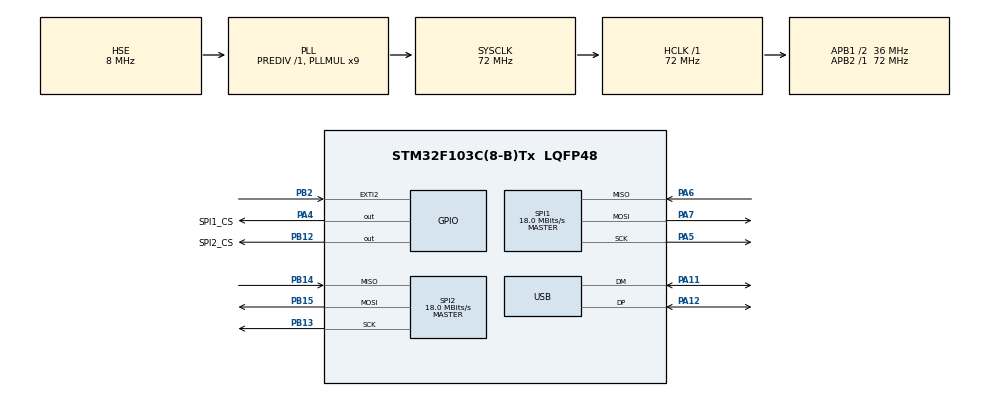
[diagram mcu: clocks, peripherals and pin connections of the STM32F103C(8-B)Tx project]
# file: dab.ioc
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Mcu.Family=STM32F1
Mcu.Name=STM32F103C(8-B)Tx
Mcu.Package=LQFP48
NVIC.EXTI2_IRQn=true\:1\:0\:true\:false\:true\:true
NVIC.PriorityGroup=NVIC_PRIORITYGROUP_4
NVIC.TIM1_UP_IRQn=true\:0\:0\:false\:false\:true\:true
NVIC.USB_LP_CAN1_RX0_IRQn=true\:0\:0\:false\:false\:true\:true
PA11.Mode=Device
PA11.Signal=USB_DM
PA12.Mode=Device
PA12.Signal=USB_DP
PA13.Mode=Serial_Wire
PA13.Signal=SYS_JTMS-SWDIO
PA14.Mode=Serial_Wire
PA14.Signal=SYS_JTCK-SWCLK
PA4.GPIO_Label=SPI1_CS
PA4.GPIO_Speed=GPIO_SPEED_FREQ_HIGH
PA4.PinState=GPIO_PIN_SET
PA4.Signal=GPIO_Output
PA5.Mode=Full_Duplex_Master
PA5.Signal=SPI1_SCK
PA6.Mode=Full_Duplex_Master
PA6.Signal=SPI1_MISO
PA7.Mode=Full_Duplex_Master
PA7.Signal=SPI1_MOSI
PB12.GPIO_Label=SPI2_CS
PB12.GPIO_Speed=GPIO_SPEED_FREQ_HIGH
PB12.PinState=GPIO_PIN_SET
PB12.Signal=GPIO_Output
PB13.Mode=Full_Duplex_Master
PB13.Signal=SPI2_SCK
PB14.Mode=Full_Duplex_Master
PB14.Signal=SPI2_MISO
PB15.Mode=Full_Duplex_Master
PB15.Signal=SPI2_MOSI
PB2.GPIO_PuPd=GPIO_PULLDOWN
PB2.Signal=GPXTI2
PD0-OSC_IN.Mode=HSE-External-Oscillator
PD0-OSC_IN.Signal=RCC_OSC_IN
PD1-OSC_OUT.Mode=HSE-External-Oscillator
PD1-OSC_OUT.Signal=RCC_OSC_OUT
ProjectManager.HeapSize=0x200
ProjectManager.StackSize=0x400
ProjectManager.TargetToolchain=SW4STM32
RCC.AHBFreq_Value=72000000
RCC.APB1CLKDivider=RCC_HCLK_DIV2
RCC.APB1Freq_Value=36000000
RCC.APB1TimFreq_Value=72000000
RCC.APB2Freq_Value=72000000
RCC.APB2TimFreq_Value=72000000
RCC.HCLKFreq_Value=72000000
RCC.PLLMUL=RCC_PLL_MUL9
RCC.SYSCLKFreq_VALUE=72000000
RCC.SYSCLKSource=RCC_SYSCLKSOURCE_PLLCLK
RCC.USBFreq_Value=48000000
RCC.USBPrescaler=RCC_USBCLKSOURCE_PLL_DIV1_5
SPI1.BaudRatePrescaler=SPI_BAUDRATEPRESCALER_4
SPI1.CLKPolarity=SPI_POLARITY_HIGH
SPI1.CalculateBaudRate=18.0 MBits/s
SPI1.DataSize=SPI_DATASIZE_16BIT
SPI1.Direction=SPI_DIRECTION_2LINES
SPI1.Mode=SPI_MODE_MASTER
SPI1.VirtualType=VM_MASTER
SPI2.CLKPolarity=SPI_POLARITY_HIGH
SPI2.CalculateBaudRate=18.0 MBits/s
SPI2.DataSize=SPI_DATASIZE_16BIT
SPI2.Direction=SPI_DIRECTION_2LINES
SPI2.Mode=SPI_MODE_MASTER
SPI2.VirtualType=VM_MASTER
TIM1.Period=9999
TIM1.Prescaler=7199
USB_DEVICE.CLASS_NAME_FS=CDC
USB_DEVICE.USBD_HandleTypeDef=hUsbDeviceFS
USB_DEVICE.USBD_SELF_POWERED=0
USB_DEVICE.VirtualMode=Cdc
USB_DEVICE.VirtualModeFS=Cdc_FS
VP_TIM1_VS_ClockSourceINT.Mode=Internal
VP_USB_DEVICE_VS_USB_DEVICE_CDC_FS.Mode=CDC_FS
board=dab

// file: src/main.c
/**
  ******************************************************************************
  * File Name          : main.c
  * Description        : Main program body
  ******************************************************************************
  * This notice applies to any and all portions of this file
  * that are not between comment pairs USER CODE BEGIN and
  * USER CODE END. Other portions of this file, whether
  * inserted by the user or by software development tools
  * are owned by their respective copyright owners.
  *
  * Copyright (c) 2018 STMicroelectronics International N.V.
  * All rights reserved.
  *
  * Redistribution and use in source and binary forms, with or without
  * modification, are permitted, provided that the following conditions are met:
  *
  * 1. Redistribution of source code must retain the above copyright notice,
  *    this list of conditions and the following disclaimer.
  * 2. Redistributions in binary form must reproduce the above copyright notice,
  *    this list of conditions and the following disclaimer in the documentation
  *    and/or other materials provided with the distribution.
  * 3. Neither the name of STMicroelectronics nor the names of other
  *    contributors to this software may be used to endorse or promote products
  *    derived from this software without specific written permission.
  * 4. This software, including modifications and/or derivative works of this
  *    software, must execute solely and exclusively on microcontroller or
  *    microprocessor devices manufactured by or for STMicroelectronics.
  * 5. Redistribution and use of this software other than as permitted under
  *    this license is void and will automatically terminate your rights under
  *    this license.
  *
  * THIS SOFTWARE IS PROVIDED BY STMICROELECTRONICS AND CONTRIBUTORS "AS IS"
  * AND ANY EXPRESS, IMPLIED OR STATUTORY WARRANTIES, INCLUDING, BUT NOT
  * LIMITED TO, THE IMPLIED WARRANTIES OF MERCHANTABILITY, FITNESS FOR A
  * PARTICULAR PURPOSE AND NON-INFRINGEMENT OF THIRD PARTY INTELLECTUAL PROPERTY
  * RIGHTS ARE DISCLAIMED TO THE FULLEST EXTENT PERMITTED BY LAW. IN NO EVENT
  * SHALL STMICROELECTRONICS OR CONTRIBUTORS BE LIABLE FOR ANY DIRECT, INDIRECT,
  * INCIDENTAL, SPECIAL, EXEMPLARY, OR CONSEQUENTIAL DAMAGES (INCLUDING, BUT NOT
  * LIMITED TO, PROCUREMENT OF SUBSTITUTE GOODS OR SERVICES; LOSS OF USE, DATA,
  * OR PROFITS; OR BUSINESS INTERRUPTION) HOWEVER CAUSED AND ON ANY THEORY OF
  * LIABILITY, WHETHER IN CONTRACT, STRICT LIABILITY, OR TORT (INCLUDING
  * NEGLIGENCE OR OTHERWISE) ARISING IN ANY WAY OUT OF THE USE OF THIS SOFTWARE,
  * EVEN IF ADVISED OF THE POSSIBILITY OF SUCH DAMAGE.
  *
  ******************************************************************************
  */

#include "main.h"
#include "stm32f1xx_hal.h"
#include "spi.h"
#include "tim.h"
#include "usb_device.h"
#include "gpio.h"

/* USER CODE BEGIN Includes */
#include "stm32f1xx_it.h"
#include "usbd_cdc_if.h"
#include "ad7495.h"

extern volatile uint16_t n;
extern volatile uint8_t t;
extern volatile uint16_t k;

/* USER CODE END Includes */

/* USER CODE BEGIN PV */
/* Private variables ---------------------------------------------------------*/
/* USER CODE END PV */

void SystemClock_Config(void);

/* USER CODE BEGIN PFP */
/* Private function prototypes -----------------------------------------------*/

/* USER CODE END PFP */

int main(void)
{

  /* MCU Configuration----------------------------------------------------------*/

  /* Reset of all peripherals, Initializes the Flash interface and the Systick. */
  HAL_Init();

  /* Configure the system clock */
  SystemClock_Config();

  /* Initialize all configured peripherals */
  MX_GPIO_Init();
  MX_USB_DEVICE_Init();
  MX_SPI1_Init();
  MX_SPI2_Init();
  MX_TIM1_Init();

  /* USER CODE BEGIN 2 */
  Adc_Probe();
  /* USER CODE END 2 */

  /* Infinite loop */
  /* USER CODE BEGIN WHILE */
  while (1)
  {
	  while(t == 1) {
		  k = 0;
		  HAL_Delay(200);
		  __HAL_GPIO_EXTI_CLEAR_IT(GPIO_PIN_2);
		  __HAL_TIM_CLEAR_IT(&htim1, TIM_IT_UPDATE);
		  __HAL_TIM_SET_COUNTER(&htim1, 0);
		  HAL_TIM_Base_Start_IT(&htim1);
		  NVIC_EnableIRQ(EXTI2_IRQn);
		  while(k < n);
		  HAL_TIM_Base_Stop_IT(&htim1);
		  t = 0;
	  }
  /* USER CODE END WHILE */

  }

}

/** System Clock Configuration
*/
void SystemClock_Config(void)
{

  RCC_OscInitTypeDef RCC_OscInitStruct;
  RCC_ClkInitTypeDef RCC_ClkInitStruct;
  RCC_PeriphCLKInitTypeDef PeriphClkInit;

    /**Initializes the CPU, AHB and APB busses clocks
    */
  RCC_OscInitStruct.OscillatorType = RCC_OSCILLATORTYPE_HSE;
  RCC_OscInitStruct.HSEState = RCC_HSE_ON;
  RCC_OscInitStruct.HSEPredivValue = RCC_HSE_PREDIV_DIV1;
  RCC_OscInitStruct.HSIState = RCC_HSI_ON;
  RCC_OscInitStruct.PLL.PLLState = RCC_PLL_ON;
  RCC_OscInitStruct.PLL.PLLSource = RCC_PLLSOURCE_HSE;
  RCC_OscInitStruct.PLL.PLLMUL = RCC_PLL_MUL9;
  if (HAL_RCC_OscConfig(&RCC_OscInitStruct) != HAL_OK)
  {
    _Error_Handler(__FILE__, __LINE__);
  }

    /**Initializes the CPU, AHB and APB busses clocks
    */
  RCC_ClkInitStruct.ClockType = RCC_CLOCKTYPE_HCLK|RCC_CLOCKTYPE_SYSCLK
                              |RCC_CLOCKTYPE_PCLK1|RCC_CLOCKTYPE_PCLK2;
  RCC_ClkInitStruct.SYSCLKSource = RCC_SYSCLKSOURCE_PLLCLK;
  RCC_ClkInitStruct.AHBCLKDivider = RCC_SYSCLK_DIV1;
  RCC_ClkInitStruct.APB1CLKDivider = RCC_HCLK_DIV2;
  RCC_ClkInitStruct.APB2CLKDivider = RCC_HCLK_DIV1;

  if (HAL_RCC_ClockConfig(&RCC_ClkInitStruct, FLASH_LATENCY_2) != HAL_OK)
  {
    _Error_Handler(__FILE__, __LINE__);
  }

  PeriphClkInit.PeriphClockSelection = RCC_PERIPHCLK_USB;
  PeriphClkInit.UsbClockSelection = RCC_USBCLKSOURCE_PLL_DIV1_5;
  if (HAL_RCCEx_PeriphCLKConfig(&PeriphClkInit) != HAL_OK)
  {
    _Error_Handler(__FILE__, __LINE__);
  }

    /**Configure the Systick interrupt time
    */
  HAL_SYSTICK_Config(HAL_RCC_GetHCLKFreq()/1000);

    /**Configure the Systick
    */
  HAL_SYSTICK_CLKSourceConfig(SYSTICK_CLKSOURCE_HCLK);

  /* SysTick_IRQn interrupt configuration */
  HAL_NVIC_SetPriority(SysTick_IRQn, 0, 0);
}

void _Error_Handler(char * file, int line)
{
  while(1)
  {
  }
}

/************************ (C) COPYRIGHT STMicroelectronics *****END OF FILE****/
